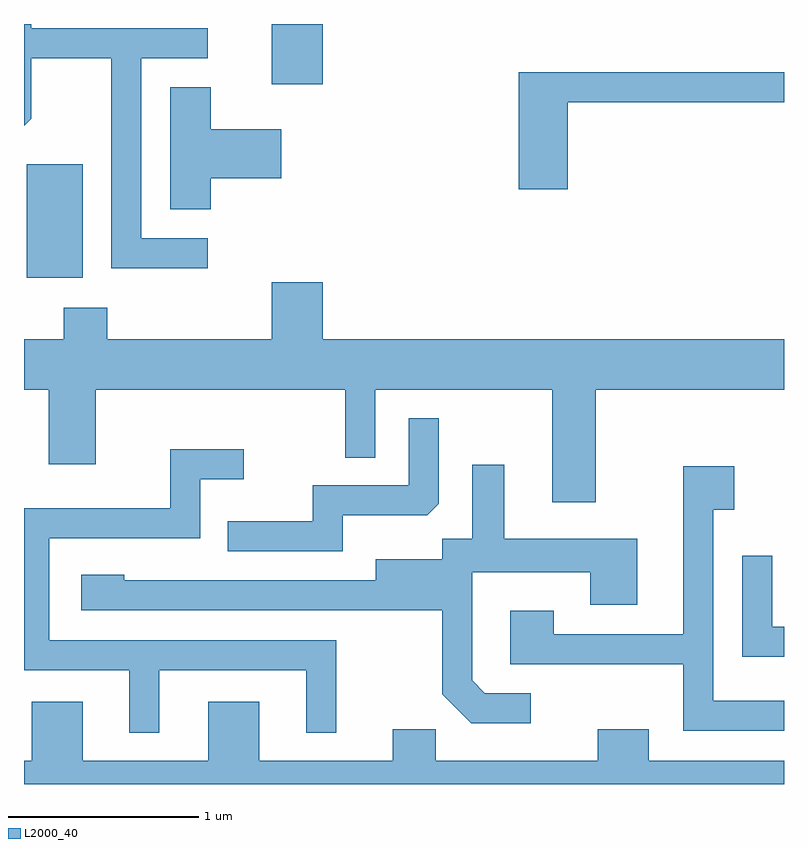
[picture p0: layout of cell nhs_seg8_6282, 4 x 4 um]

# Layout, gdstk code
import gdstk
lib = gdstk.Library(unit=1e-6, precision=1e-09)
def R(c, l, rs):  # rectangles x0, y0, x1, y1
    for r in rs: c.add(gdstk.rectangle(r[:2], r[2:], *l))
def P(c, l, *ps):  # polygons
    for p in ps: c.add(gdstk.Polygon(p, *l))
L2000_40 = (2000, 40)

nhs_seg8_6282 = lib.new_cell('nhs_seg8_6282')
R(nhs_seg8_6282, L2000_40, [(373.626,1837.006,373.919,1837.604), (374.916,1838.026,375.184,1838.342)])
P(nhs_seg8_6282, L2000_40, [(374.578,1837.214),(374.229,1837.214),(374.229,1838.161),(374.578,1838.161),(374.578,1838.319),(373.649,1838.319),(373.649,1838.342),(373.611,1838.342),(373.611,1837.806),(373.649,1837.844),(373.649,1838.161),(374.071,1838.161),(374.071,1837.056),(374.578,1837.056)],
  [(376.474,1837.931),(377.611,1837.931),(377.611,1838.089),(376.216,1838.089),(376.216,1837.471),(376.474,1837.471)],
  [(374.594,1837.531),(374.964,1837.531),(374.964,1837.789),(374.594,1837.789),(374.594,1838.009),(374.381,1838.009),(374.381,1837.366),(374.594,1837.366)],
  [(376.619,1836.416),(377.611,1836.416),(377.611,1836.684),(375.184,1836.684),(375.184,1836.984),(374.916,1836.984),(374.916,1836.684),(374.049,1836.684),(374.049,1836.849),(373.821,1836.849),(373.821,1836.684),(373.611,1836.684),(373.611,1836.416),(373.741,1836.416),(373.741,1836.026),(373.989,1836.026),(373.989,1836.416),(375.301,1836.416),(375.301,1836.058),(375.459,1836.058),(375.459,1836.416),(376.391,1836.416),(376.391,1835.826),(376.619,1835.826)],
  [(375.289,1835.756),(375.734,1835.756),(375.794,1835.817),(375.794,1836.268),(375.636,1836.268),(375.636,1835.914),(375.131,1835.914),(375.131,1835.724),(374.683,1835.724),(374.683,1835.566),(375.289,1835.566)],
  [(374.324,1834.941),(375.096,1834.941),(375.096,1834.613),(375.254,1834.613),(375.254,1835.099),(373.744,1835.099),(373.744,1835.636),(374.539,1835.636),(374.539,1835.946),(374.768,1835.946),(374.768,1836.104),(374.381,1836.104),(374.381,1835.794),(373.611,1835.794),(373.611,1834.941),(374.166,1834.941),(374.166,1834.613),(374.324,1834.613)],
  [(376.278,1834.819),(376.037,1834.819),(375.969,1834.887),(375.969,1835.456),(376.591,1835.456),(376.591,1835.286),(376.839,1835.286),(376.839,1835.634),(376.139,1835.634),(376.139,1836.023),(375.971,1836.023),(375.971,1835.634),(375.811,1835.634),(375.811,1835.524),(375.461,1835.524),(375.461,1835.414),(374.139,1835.414),(374.139,1835.444),(373.911,1835.444),(373.911,1835.256),(375.811,1835.256),(375.811,1834.814),(375.964,1834.661),(376.278,1834.661)],
  [(377.611,1834.779),(377.239,1834.779),(377.239,1835.786),(377.349,1835.786),(377.349,1836.014),(377.081,1836.014),(377.081,1835.129),(376.399,1835.129),(376.399,1835.254),(376.171,1835.254),(376.171,1834.971),(377.081,1834.971),(377.081,1834.621),(377.611,1834.621)],
  [(377.611,1835.169),(377.549,1835.169),(377.549,1835.543),(377.391,1835.543),(377.391,1835.011),(377.611,1835.011)],
  [(377.611,1834.464),(376.899,1834.464),(376.899,1834.629),(376.631,1834.629),(376.631,1834.464),(375.779,1834.464),(375.779,1834.629),(375.551,1834.629),(375.551,1834.464),(374.849,1834.464),(374.849,1834.774),(374.581,1834.774),(374.581,1834.464),(373.919,1834.464),(373.919,1834.774),(373.651,1834.774),(373.651,1834.464),(373.611,1834.464),(373.611,1834.342),(377.611,1834.342)])

lib.write_gds('nhs_seg8_6282.gds')
